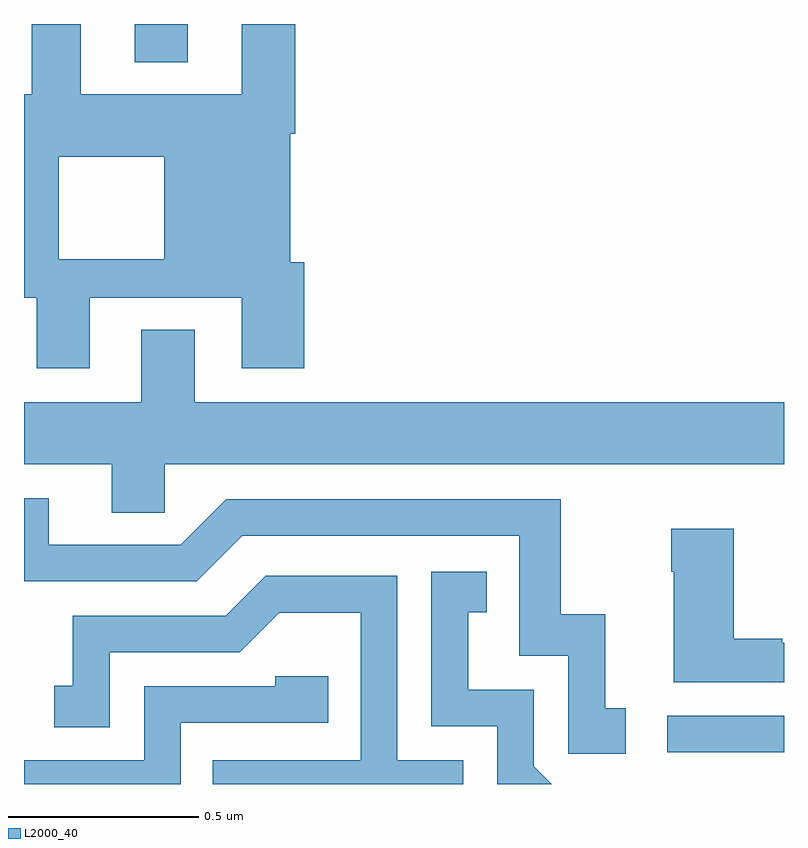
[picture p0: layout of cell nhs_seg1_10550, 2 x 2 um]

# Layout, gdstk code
import gdstk
lib = gdstk.Library(unit=1e-6, precision=1e-09)
def R(c, l, rs):  # rectangles x0, y0, x1, y1
    for r in rs: c.add(gdstk.rectangle(r[:2], r[2:], *l))
def P(c, l, *ps):  # polygons
    for p in ps: c.add(gdstk.Polygon(p, *l))
L2000_40 = (2000, 40)

nhs_seg1_10550 = lib.new_cell('nhs_seg1_10550')
R(nhs_seg1_10550, L2000_40, [(243.693,576.282,244,576.378), (242.291,578.099,242.431,578.199)])
P(nhs_seg1_10550, L2000_40, [(242.033,577.479),(242.033,577.293),(242.173,577.293),(242.173,577.479),(242.573,577.479),(242.573,577.293),(242.738,577.293),(242.738,577.572),(242.701,577.572),(242.701,577.91),(242.714,577.91),(242.714,578.199),(242.573,578.199),(242.573,578.014),(242.149,578.014),(242.149,578.199),(242.021,578.199),(242.021,578.014),(242,578.014),(242,577.58),(242.092,577.58),(242.092,577.85),(242.369,577.85),(242.369,577.58),(242.092,577.58),(242,577.58),(242,577.479)],
  [(242.37,577.04),(244,577.04),(244,577.204),(242.449,577.204),(242.449,577.394),(242.309,577.394),(242.309,577.204),(242,577.204),(242,577.04),(242.231,577.04),(242.231,576.913),(242.37,576.913)],
  [(243.583,576.399),(243.53,576.399),(243.53,576.646),(243.412,576.646),(243.412,576.948),(242.532,576.948),(242.412,576.828),(242.065,576.828),(242.065,576.951),(242,576.951),(242,576.732),(242.454,576.732),(242.574,576.852),(243.303,576.852),(243.303,576.537),(243.432,576.537),(243.432,576.279),(243.583,576.279)],
  [(244,576.571),(243.995,576.571),(243.995,576.581),(243.868,576.581),(243.868,576.871),(243.703,576.871),(243.703,576.758),(243.71,576.758),(243.71,576.467),(244,576.467)],
  [(243.342,576.246),(243.342,576.447),(243.169,576.447),(243.169,576.651),(243.218,576.651),(243.218,576.757),(243.072,576.757),(243.072,576.351),(243.246,576.351),(243.246,576.199),(243.389,576.199)],
  [(243.156,576.261),(242.982,576.261),(242.982,576.747),(242.636,576.747),(242.531,576.642),(242.128,576.642),(242.128,576.457),(242.079,576.457),(242.079,576.348),(242.226,576.348),(242.226,576.546),(242.568,576.546),(242.672,576.65),(242.886,576.65),(242.886,576.261),(242.497,576.261),(242.497,576.199),(243.156,576.199)],
  [(242.412,576.36),(242.801,576.36),(242.801,576.483),(242.661,576.483),(242.661,576.456),(242.316,576.456),(242.316,576.261),(242,576.261),(242,576.199),(242.412,576.199)])

lib.write_gds('nhs_seg1_10550.gds')
